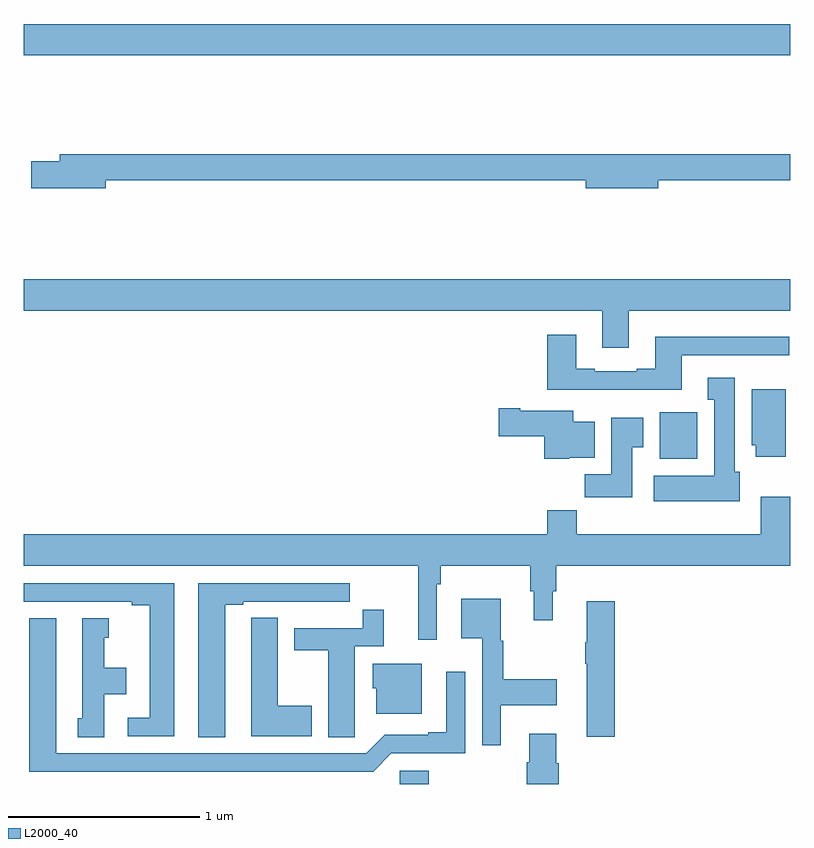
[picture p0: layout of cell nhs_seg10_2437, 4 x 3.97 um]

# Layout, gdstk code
import gdstk
lib = gdstk.Library(unit=1e-6, precision=1e-09)
def R(c, l, rs):  # rectangles x0, y0, x1, y1
    for r in rs: c.add(gdstk.rectangle(r[:2], r[2:], *l))
def P(c, l, *ps):  # polygons
    for p in ps: c.add(gdstk.Polygon(p, *l))
L2000_40 = (2000, 40)

nhs_seg10_2437 = lib.new_cell('nhs_seg10_2437')
R(nhs_seg10_2437, L2000_40, [(242.961,1308.5,243.113,1308.57), (244.319,1310.198,244.516,1310.44), (241,1312.304,245,1312.468)])
P(nhs_seg10_2437, L2000_40, [(241.426,1311.652),(243.932,1311.652),(243.932,1311.61),(244.312,1311.61),(244.312,1311.652),(245,1311.652),(245,1311.788),(241.187,1311.788),(241.187,1311.752),(241.038,1311.752),(241.038,1311.61),(241.426,1311.61)],
  [(244.159,1310.972),(245,1310.972),(245,1311.136),(241,1311.136),(241,1310.972),(244.019,1310.972),(244.019,1310.778),(244.159,1310.778)],
  [(244.435,1310.739),(244.996,1310.739),(244.996,1310.836),(244.295,1310.836),(244.295,1310.668),(244.199,1310.668),(244.199,1310.655),(243.979,1310.655),(243.979,1310.668),(243.883,1310.668),(243.883,1310.845),(243.731,1310.845),(243.731,1310.558),(244.435,1310.558)],
  [(244.738,1310.13),(244.711,1310.13),(244.711,1310.62),(244.571,1310.62),(244.571,1310.507),(244.604,1310.507),(244.604,1310.11),(244.287,1310.11),(244.287,1309.976),(244.738,1309.976)],
  [(244.978,1310.56),(244.799,1310.56),(244.799,1310.268),(244.82,1310.268),(244.82,1310.208),(244.978,1310.208)],
  [(243.846,1310.204),(243.979,1310.204),(243.979,1310.392),(243.868,1310.392),(243.868,1310.449),(243.592,1310.449),(243.592,1310.462),(243.48,1310.462),(243.48,1310.315),(243.716,1310.315),(243.716,1310.198),(243.846,1310.198)],
  [(244.177,1310.257),(244.234,1310.257),(244.234,1310.413),(244.067,1310.413),(244.067,1310.116),(243.928,1310.116),(243.928,1309.998),(244.177,1309.998)],
  [(243.156,1309.544),(243.176,1309.544),(243.176,1309.64),(243.643,1309.64),(243.643,1309.506),(243.662,1309.506),(243.662,1309.356),(243.76,1309.356),(243.76,1309.506),(243.779,1309.506),(243.779,1309.64),(245,1309.64),(245,1309.999),(244.847,1309.999),(244.847,1309.804),(243.887,1309.804),(243.887,1309.928),(243.731,1309.928),(243.731,1309.804),(241,1309.804),(241,1309.64),(243.059,1309.64),(243.059,1309.254),(243.156,1309.254)],
  [(241.786,1309.548),(241,1309.548),(241,1309.452),(241.562,1309.452),(241.562,1309.432),(241.658,1309.432),(241.658,1308.846),(241.542,1308.846),(241.542,1308.75),(241.786,1308.75)],
  [(242.05,1309.437),(242.146,1309.437),(242.146,1309.452),(242.422,1309.452),(242.422,1309.451),(242.588,1309.451),(242.588,1309.452),(242.701,1309.452),(242.701,1309.548),(241.91,1309.548),(241.91,1308.745),(242.05,1308.745)],
  [(243.49,1308.911),(243.781,1308.911),(243.781,1309.046),(243.502,1309.046),(243.502,1309.247),(243.49,1309.247),(243.49,1309.468),(243.284,1309.468),(243.284,1309.262),(243.393,1309.262),(243.393,1308.702),(243.49,1308.702)],
  [(244.085,1309.453),(243.938,1309.453),(243.938,1309.24),(243.931,1309.24),(243.931,1309.129),(243.938,1309.129),(243.938,1308.747),(244.085,1308.747)],
  [(242.727,1308.856),(242.728,1308.856),(242.728,1309.218),(242.879,1309.218),(242.879,1309.411),(242.77,1309.411),(242.77,1309.314),(242.411,1309.314),(242.411,1309.198),(242.588,1309.198),(242.588,1308.745),(242.727,1308.745)],
  [(242.503,1308.909),(242.326,1308.909),(242.326,1309.367),(242.187,1309.367),(242.187,1309.259),(242.186,1309.259),(242.186,1308.749),(242.503,1308.749)],
  [(242.919,1308.66),(243.303,1308.66),(243.303,1309.087),(243.206,1309.087),(243.206,1308.769),(243.11,1308.769),(243.11,1308.756),(242.883,1308.756),(242.787,1308.66),(241.168,1308.66),(241.168,1309.366),(241.028,1309.366),(241.028,1308.564),(242.823,1308.564)],
  [(241.42,1308.968),(241.534,1308.968),(241.534,1309.108),(241.42,1309.108),(241.42,1309.263),(241.444,1309.263),(241.444,1309.366),(241.304,1309.366),(241.304,1308.843),(241.28,1308.843),(241.28,1308.745),(241.42,1308.745)],
  [(243.076,1309.129),(242.822,1309.129),(242.822,1308.999),(242.84,1308.999),(242.84,1308.866),(243.076,1308.866)],
  [(243.791,1308.609),(243.778,1308.609),(243.778,1308.763),(243.638,1308.763),(243.638,1308.614),(243.626,1308.614),(243.626,1308.5),(243.791,1308.5)])

lib.write_gds('nhs_seg10_2437.gds')
